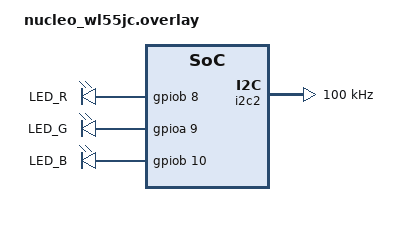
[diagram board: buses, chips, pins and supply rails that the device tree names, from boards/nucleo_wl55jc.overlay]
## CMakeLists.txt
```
cmake_minimum_required(VERSION 3.20.0)
find_package(Zephyr REQUIRED HINTS $ENV{ZEPHYR_BASE})
project(mma8451_test)

target_sources(app PRIVATE 
        src/main.c
        measure.c
        )
```

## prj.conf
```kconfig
CONFIG_I2C=y
CONFIG_MAIN_STACK_SIZE=2048
CONFIG_STDOUT_CONSOLE=y
CONFIG_PRINTK=y
```

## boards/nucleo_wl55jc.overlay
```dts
&i2c2 {
	status = "okay";
	clock-frequency = <100000>;
};

/ {
	leds {
		compatible = "gpio-leds";
		led_r: led_r {
			gpios = <&gpiob 8 GPIO_ACTIVE_HIGH>;
			label = "LED_R";
		};
		led_g: led_g {
			gpios = <&gpioa 9 GPIO_ACTIVE_HIGH>;
			label = "LED_G";
		};
		led_b: led_b {
			gpios = <&gpiob 10 GPIO_ACTIVE_HIGH>;
			label = "LED_B";
		};
	};

	aliases {
		ledr = &led_r;
		ledg = &led_g;
		ledb = &led_b;
	};
};
```

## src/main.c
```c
 #include <zephyr/kernel.h>
#include <zephyr/drivers/gpio.h>
#include <zephyr/device.h>
#include <zephyr/drivers/i2c.h>
#include <zephyr/sys/printk.h>
#include "../connector.h"
#include <zephyr/kernel/stats.h>
#include <zephyr/arch/arch_interface.h>

// === Thread definitions ===
#define STACKSIZE 512
#define PRIORITY 5

// === Registers in RGB SENSOR ===
#define ADDR          0x29
#define COMMAND_BIT   0x80

#define ENABLE        0x00
#define ENABLE_PON    0x01
#define ENABLE_AEN    0x02

#define ATIME         0x01
#define CONTROL       0x0F
#define CDATAL        0x14

#define WAIT_TIME     0x03
#define WAIT_VALUE    0xAB


#define LEDR_NODE DT_ALIAS(ledr)
#define LEDG_NODE DT_ALIAS(ledg)
#define LEDB_NODE DT_ALIAS(ledb)
#define BUTTON DT_ALIAS(sw1)


// === Avalilable for both files ===
struct rgb led = {
    .r = GPIO_DT_SPEC_GET(DT_ALIAS(ledr), gpios),
    .g = GPIO_DT_SPEC_GET(DT_ALIAS(ledg), gpios),
    .b = GPIO_DT_SPEC_GET(DT_ALIAS(ledb), gpios),
};

const struct device *i2c;
bool saved = false;


static const struct gpio_dt_spec button = GPIO_DT_SPEC_GET(BUTTON, gpios);
static struct gpio_callback button_cb_data;




enum Mode { NORMAL, BLUE, OFF};
enum Mode saved_last;
enum Mode mode = NORMAL;

void buffer_changer(uint8_t *buff, uint8_t first, uint8_t second) {
    buff[0] = first;
    buff[1] = second;
}


// == RGB Sensor initialisation === 
void tcs34725_init() {
    uint8_t buff[2];
    buffer_changer(buff, COMMAND_BIT | ENABLE, ENABLE_PON);
    i2c_write(i2c, buff, sizeof(buff), ADDR);

    k_msleep(3); //needed as written in documentation
    buffer_changer(buff, COMMAND_BIT | ENABLE, ENABLE_AEN | ENABLE_PON);
    i2c_write(i2c ,buff, sizeof(buff), ADDR);

    buffer_changer(buff, COMMAND_BIT | ATIME, 0xD5);
    i2c_write(i2c,buff,sizeof(buff),ADDR);

    buffer_changer(buff, COMMAND_BIT | CONTROL, 0x00);
    i2c_write(i2c,buff,sizeof(buff),ADDR);


    buffer_changer(buff, COMMAND_BIT | WAIT_TIME, WAIT_VALUE);
    i2c_write(i2c,buff,sizeof(buff),ADDR);

    k_msleep(150);
    printk("Sensor initialized\n");
}


void leds_init(const struct rgb *leds)
{
    gpio_pin_configure_dt(&leds->r, GPIO_OUTPUT_INACTIVE);
    gpio_pin_configure_dt(&leds->g, GPIO_OUTPUT_INACTIVE);
    gpio_pin_configure_dt(&leds->b, GPIO_OUTPUT_INACTIVE);
}

void button_pressed(const struct device *dev, struct gpio_callback *cb, uint32_t pins)
{
    bool pressed = gpio_pin_get_dt(&button);
    int64_t start = k_uptime_get();

    while (pressed && mode != OFF) {
        pressed = gpio_pin_get_dt(&button);
        if (k_uptime_get() - start >= 1000) {
            mode = OFF;
            return;
        }
    }

    if (mode == OFF) mode = saved_last;
    else if (mode == NORMAL) mode = BLUE;
    else mode = NORMAL;
}


void normal_function(void) {sensor();}
K_THREAD_DEFINE (sensor_thread,STACKSIZE,normal_function,NULL,NULL,NULL,0,0,0);

void main (void) {
    k_thread_suspend(sensor_thread);

    // === Button initialisation ===
    gpio_pin_configure_dt(&button, GPIO_INPUT);
    gpio_pin_interrupt_configure_dt(&button, GPIO_INT_EDGE_TO_ACTIVE);
    gpio_init_callback(&button_cb_data, button_pressed, BIT(button.pin));
    gpio_add_callback(button.port, &button_cb_data);

    leds_init(&led);

    // === i2c initialisation ===
    i2c = DEVICE_DT_GET(DT_NODELABEL(i2c2));
    if (!device_is_ready(i2c)) {
        printk("i2c2 is not ready\n");
        return;
    }

    tcs34725_init();

    while (true) {
        if ( mode == NORMAL) {
            saved_last = NORMAL;
            printk("=== NORMAL MODE ===\n");
            k_thread_resume(sensor_thread);
            printk("thread activated\n");
            while (mode == NORMAL) {
                k_msleep(2000);
            }
            saved=false;
            k_thread_suspend(sensor_thread);
            printk("\nthread suspended\n");
        }

        else if ( mode == BLUE ) {
            saved_last = BLUE;
            printk("=== BLUE MODE ===\n");
            rgb_set(&led, 0, 0, 1); 
            while (mode == BLUE) k_msleep(100);
        }

        else if ( mode == OFF ) {
            printk("=== OFF MODE ===\n");
            rgb_set(&led, 0, 0, 0);
            while (mode == OFF) k_msleep(100);
        }
    }
}
```
